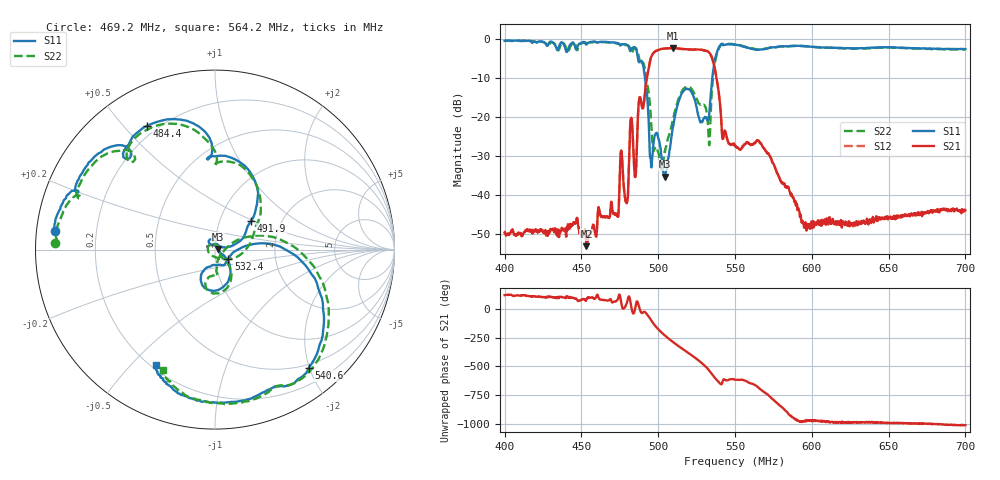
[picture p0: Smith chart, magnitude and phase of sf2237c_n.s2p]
# Hz S RI R 50
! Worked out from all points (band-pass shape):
!   1601 points, 400 MHz to 700 MHz, reference 50 ohm
!   highest |S21| = -2.31 dB at 509.5 MHz (marker M1); lowest = -53.1 dB at 453.2 MHz (marker M2)
!   |S21| within 3 dB of the highest: 494.9 MHz to 535.4 MHz (40.54 MHz wide, 7.87 % of centre)
!   lowest |S11| = -35.2 dB at 504.2 MHz (marker M3), VSWR 1.04, Z = 51.7 + j0.391 ohm
!   |S11| at or under -10 dB: 491.4 MHz to 535.2 MHz (43.86 MHz wide, 8.55 % of centre)
!   |S22| runs from -33.4 to -0.4 dB; largest |S21 - S12| = 0.0047
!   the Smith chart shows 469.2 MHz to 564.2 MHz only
!   S11 on the Smith chart (normalised r, x): 469.2 MHz: 0.05, +0.06; 484.4 MHz: 0.16, +0.58; 491.9 MHz: 1.41, +0.49; 532.4 MHz: 1.15, -0.12; 540.6 MHz: 0.44, -1.99; 564.2 MHz: 0.22, -0.59
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4e8  -0.5701 -0.7574  -0.00191 0.00271  -0.00191 0.0027  -0.523 -0.7827
4.500625e8  -0.8076 -0.3885  0.000362 0.00306  0.000401 0.00314  -0.7537 -0.4438
4.5325e8  -0.795 -0.2984  0.000171 0.00221  0.000182 0.0023  -0.8052 -0.3198
4.691875e8  -0.8928 0.1026  0.000468 0.00759  0.000418 0.00755  -0.8888 0.0387
4.76125e8  -0.7791 0.3425  0.0254 0.0263  0.0255 0.0262  -0.7544 0.3005
4.793125e8  -0.673 0.5158  0.0056 0.00578  0.00562 0.00574  -0.7102 0.4399
4.825e8  -0.5065 0.5534  0.0897 0.0385  0.0898 0.0386  -0.4504 0.528
4.84375e8  -0.3809 0.6884  0.0204 -0.00967  0.0203 -0.00969  -0.4592 0.6073
4.91875e8  0.2017 0.1608  0.2203 -0.1257  0.2206 -0.1251  0.2544 0.2596
4.954375e8  0.00469 0.0224  -0.0569 -0.5837  -0.0561 -0.585  0.0621 -0.0546
5.00125e8  -0.0112 0.0521  -0.7225 -0.0602  -0.7251 -0.0577  -0.0131 0.0323
5.0425e8  0.0169 0.00378  -0.5074 0.5573  -0.5075 0.5572  0.0315 -0.0186
5.095e8  0.0581 -0.0433  0.1894 0.7429  0.1893 0.741  0.0617 -0.0653
5.190625e8  -0.0214 -0.2287  0.7064 -0.2061  0.706 -0.2057  0.00511 -0.2439
5.26375e8  -0.0313 -0.0952  0.0245 -0.732  0.0239 -0.7323  -0.0233 -0.1476
5.32375e8  0.0746 -0.0504  -0.6545 -0.2118  -0.6565 -0.2132  0.0107 -0.0819
5.40625e8  0.5227 -0.6591  0.0481 0.1104  0.0481 0.1108  0.5902 -0.5818
5.5e8  -0.0898 -0.8398  -0.011 0.0407  -0.0111 0.0413  -0.0249 -0.8532
5.6425e8  -0.3304 -0.6441  0.0346 0.0363  0.0347 0.0364  -0.2909 -0.6702
6.000625e8  -0.6482 -0.4605  -0.000764 0.00369  -0.000771 0.00366  -0.6044 -0.5158
6.50125e8  -0.7555 -0.1987  0.000372 0.00525  0.000459 0.00512  -0.7267 -0.2697
7e8  -0.7417 0.0359  0.00267 0.0058  0.00261 0.00578  -0.7338 -0.0419
